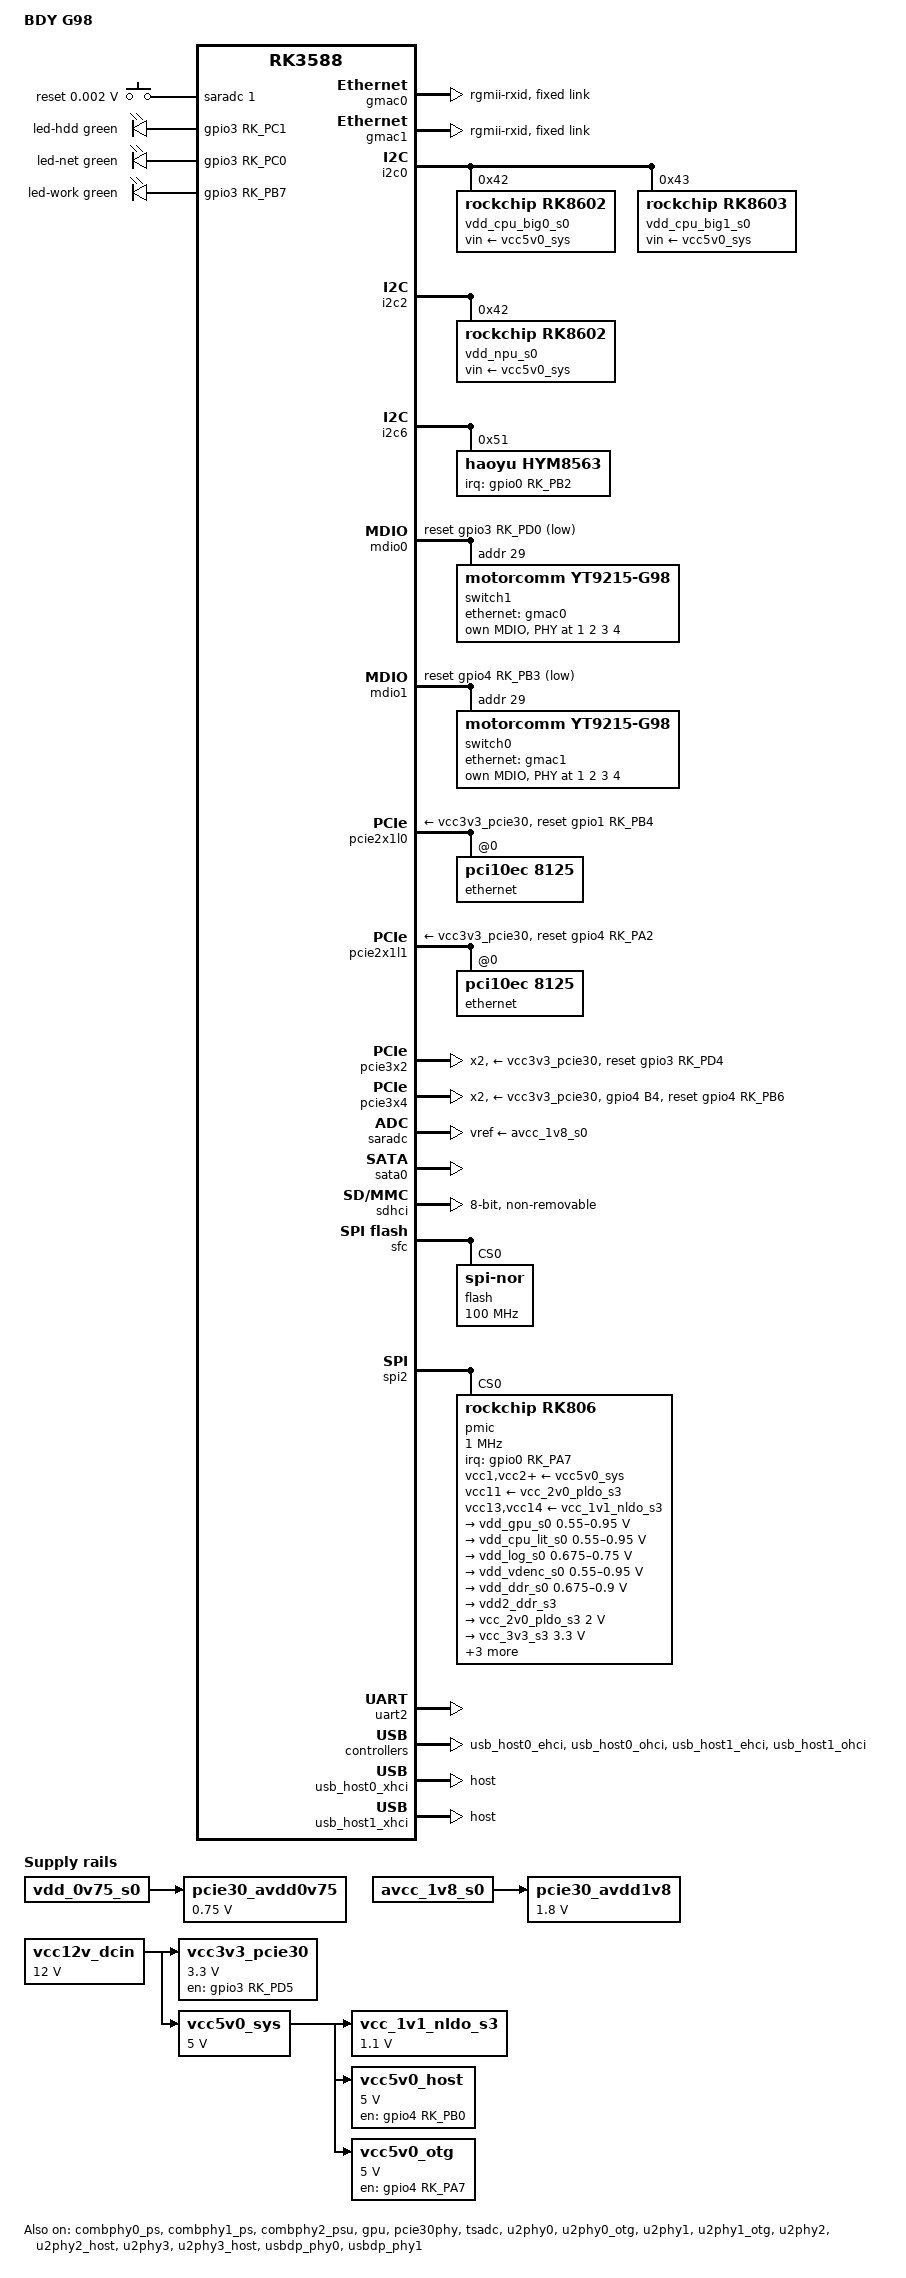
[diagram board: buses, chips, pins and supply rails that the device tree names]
// SPDX-License-Identifier: (GPL-2.0+ OR MIT)

/dts-v1/;

#include <dt-bindings/gpio/gpio.h>
#include <dt-bindings/input/input.h>
#include <dt-bindings/interrupt-controller/irq.h>
#include <dt-bindings/leds/common.h>
#include <dt-bindings/pinctrl/rockchip.h>
#include "rk3588.dtsi"

/ {
	model = "BDY G98";
	compatible = "bdy,g98", "rockchip,rk3588";

	adc-keys {
		compatible = "adc-keys";
		io-channels = <&saradc 1>;
		io-channel-names = "buttons";
		keyup-threshold-microvolt = <1800000>;
		poll-interval = <100>;

		button-reset {
			label = "reset";
			linux,code = <KEY_RESTART>;
			press-threshold-microvolt = <1750>;
		};
	};

	aliases {
		ethernet0 = &gmac0;
		ethernet1 = &gmac1;
		mmc0 = &sdhci;
		usbdp0 = &usbdp_phy0;
	};

	chosen {
		stdout-path = "serial2:1500000n8";
	};

	leds {
		compatible = "gpio-leds";

		led-hdd {
			color = <LED_COLOR_ID_GREEN>;
			default-state = "off";
			function = LED_FUNCTION_DISK;
			gpios = <&gpio3 RK_PC1 GPIO_ACTIVE_HIGH>;
		};

		led-net {
			color = <LED_COLOR_ID_GREEN>;
			default-state = "off";
			function = LED_FUNCTION_LAN;
			gpios = <&gpio3 RK_PC0 GPIO_ACTIVE_HIGH>;
		};

		led-work {
			color = <LED_COLOR_ID_GREEN>;
			function = LED_FUNCTION_HEARTBEAT;
			gpios = <&gpio3 RK_PB7 GPIO_ACTIVE_HIGH>;
			linux,default-trigger = "heartbeat";
		};
	};

	pcie30_avdd0v75: regulator-pcie30-avdd0v75 {
		compatible = "regulator-fixed";
		regulator-name = "pcie30_avdd0v75";
		regulator-always-on;
		regulator-boot-on;
		regulator-min-microvolt = <750000>;
		regulator-max-microvolt = <750000>;
		vin-supply = <&vdd_0v75_s0>;
	};

	pcie30_avdd1v8: regulator-pcie30-avdd1v8 {
		compatible = "regulator-fixed";
		regulator-name = "pcie30_avdd1v8";
		regulator-always-on;
		regulator-boot-on;
		regulator-min-microvolt = <1800000>;
		regulator-max-microvolt = <1800000>;
		vin-supply = <&avcc_1v8_s0>;
	};

	vcc_1v1_nldo_s3: regulator-vcc-1v1-nldo-s3 {
		compatible = "regulator-fixed";
		regulator-name = "vcc_1v1_nldo_s3";
		regulator-always-on;
		regulator-boot-on;
		regulator-min-microvolt = <1100000>;
		regulator-max-microvolt = <1100000>;
		vin-supply = <&vcc5v0_sys>;
	};

	vcc12v_dcin: regulator-vcc12v-dcin {
		compatible = "regulator-fixed";
		regulator-name = "vcc12v_dcin";
		regulator-always-on;
		regulator-boot-on;
		regulator-min-microvolt = <12000000>;
		regulator-max-microvolt = <12000000>;
	};

	vcc3v3_pcie30: regulator-vcc3v3-pcie30 {
		compatible = "regulator-fixed";
		regulator-name = "vcc3v3_pcie30";
		regulator-min-microvolt = <3300000>;
		regulator-max-microvolt = <3300000>;
		enable-active-high;
		gpio = <&gpio3 RK_PD5 GPIO_ACTIVE_HIGH>;
		pinctrl-names = "default";
		pinctrl-0 = <&pcie30_power_en>;
		startup-delay-us = <7500>;
		vin-supply = <&vcc12v_dcin>;
	};

	vcc5v0_host: regulator-vcc5v0-host {
		compatible = "regulator-fixed";
		regulator-name = "vcc5v0_host";
		regulator-always-on;
		regulator-boot-on;
		regulator-min-microvolt = <5000000>;
		regulator-max-microvolt = <5000000>;
		enable-active-high;
		gpio = <&gpio4 RK_PB0 GPIO_ACTIVE_HIGH>;
		pinctrl-names = "default";
		pinctrl-0 = <&vcc5v0_host_en>;
		vin-supply = <&vcc5v0_sys>;
	};

	vcc5v0_otg: regulator-vcc5v0-otg {
		compatible = "regulator-fixed";
		regulator-name = "vcc5v0_otg";
		regulator-min-microvolt = <5000000>;
		regulator-max-microvolt = <5000000>;
		enable-active-high;
		gpio = <&gpio4 RK_PA7 GPIO_ACTIVE_HIGH>;
		pinctrl-names = "default";
		pinctrl-0 = <&vcc5v0_otg_en>;
		vin-supply = <&vcc5v0_sys>;
	};

	vcc5v0_sys: regulator-vcc5v0-sys {
		compatible = "regulator-fixed";
		regulator-name = "vcc5v0_sys";
		regulator-always-on;
		regulator-boot-on;
		regulator-min-microvolt = <5000000>;
		regulator-max-microvolt = <5000000>;
		vin-supply = <&vcc12v_dcin>;
	};
};

&{/reserved-memory} {
	cma: linux,cma {
		compatible = "shared-dma-pool";
		alloc-ranges = <0x1 0x00000000 0x3 0x00000000>;
		reusable;
		size = <0x0 0x20000000>;
		linux,cma-default;
	};
};

&combphy0_ps {
	status = "okay";
};

&combphy1_ps {
	status = "okay";
};

&combphy2_psu {
	status = "okay";
};

&cpu_b0 {
	cpu-supply = <&vdd_cpu_big0_s0>;
};

&cpu_b1 {
	cpu-supply = <&vdd_cpu_big0_s0>;
};

&cpu_b2 {
	cpu-supply = <&vdd_cpu_big1_s0>;
};

&cpu_b3 {
	cpu-supply = <&vdd_cpu_big1_s0>;
};

&cpu_l0 {
	cpu-supply = <&vdd_cpu_lit_s0>;
};

&cpu_l1 {
	cpu-supply = <&vdd_cpu_lit_s0>;
};

&cpu_l2 {
	cpu-supply = <&vdd_cpu_lit_s0>;
};

&cpu_l3 {
	cpu-supply = <&vdd_cpu_lit_s0>;
};

&gmac0 {
	/delete-property/ snps,tso;
	clock_in_out = "output";
	phy-mode = "rgmii-rxid";
	pinctrl-names = "default";
	pinctrl-0 = <&gmac0_miim
		     &gmac0_tx_bus2
		     &gmac0_rx_bus2
		     &gmac0_rgmii_clk
		     &gmac0_rgmii_bus>;
	rx_delay = <0x00>;
	tx_delay = <0x44>;
	status = "okay";

	fixed-link {
		speed = <1000>;
		full-duplex;
		pause;
	};
};

/* The vendor DT uses one DMA queue on each switch CPU port. */
&gmac0_mtl_rx_setup {
	snps,rx-queues-to-use = <1>;
	/delete-node/ queue1;
};

&gmac0_mtl_tx_setup {
	snps,tx-queues-to-use = <1>;
	/delete-node/ queue1;
};

&gmac1 {
	/delete-property/ snps,tso;
	clock_in_out = "output";
	phy-mode = "rgmii-rxid";
	pinctrl-names = "default";
	pinctrl-0 = <&gmac1_miim
		     &gmac1_tx_bus2
		     &gmac1_rx_bus2
		     &gmac1_rgmii_clk
		     &gmac1_rgmii_bus>;
	rx_delay = <0x00>;
	tx_delay = <0x42>;
	status = "okay";

	fixed-link {
		speed = <1000>;
		full-duplex;
		pause;
	};
};

&gmac1_mtl_rx_setup {
	snps,rx-queues-to-use = <1>;
	/delete-node/ queue1;
};

&gmac1_mtl_tx_setup {
	snps,tx-queues-to-use = <1>;
	/delete-node/ queue1;
};

&gpu {
	mali-supply = <&vdd_gpu_s0>;
	sram-supply = <&vdd_gpu_s0>;
	status = "okay";
};

&i2c0 {
	pinctrl-names = "default";
	pinctrl-0 = <&i2c0m2_xfer>;
	status = "okay";

	vdd_cpu_big0_s0: regulator@42 {
		compatible = "rockchip,rk8602";
		reg = <0x42>;
		fcs,suspend-voltage-selector = <1>;
		regulator-name = "vdd_cpu_big0_s0";
		regulator-min-microvolt = <550000>;
		regulator-max-microvolt = <1050000>;
		regulator-ramp-delay = <2300>;
		regulator-boot-on;
		regulator-always-on;
		vin-supply = <&vcc5v0_sys>;

		regulator-state-mem {
			regulator-off-in-suspend;
		};
	};

	vdd_cpu_big1_s0: regulator@43 {
		compatible = "rockchip,rk8603", "rockchip,rk8602";
		reg = <0x43>;
		fcs,suspend-voltage-selector = <1>;
		regulator-name = "vdd_cpu_big1_s0";
		regulator-min-microvolt = <550000>;
		regulator-max-microvolt = <1050000>;
		regulator-ramp-delay = <2300>;
		regulator-boot-on;
		regulator-always-on;
		vin-supply = <&vcc5v0_sys>;

		regulator-state-mem {
			regulator-off-in-suspend;
		};
	};
};

&i2c2 {
	pinctrl-names = "default";
	pinctrl-0 = <&i2c2m0_xfer>;
	status = "okay";

	vdd_npu_s0: regulator@42 {
		compatible = "rockchip,rk8602";
		reg = <0x42>;
		fcs,suspend-voltage-selector = <1>;
		regulator-name = "vdd_npu_s0";
		regulator-min-microvolt = <550000>;
		regulator-max-microvolt = <950000>;
		regulator-ramp-delay = <2300>;
		regulator-boot-on;
		regulator-always-on;
		vin-supply = <&vcc5v0_sys>;

		regulator-state-mem {
			regulator-off-in-suspend;
		};
	};
};

&i2c6 {
	status = "okay";

	hym8563: rtc@51 {
		compatible = "haoyu,hym8563";
		reg = <0x51>;
		interrupt-parent = <&gpio0>;
		interrupts = <RK_PB2 IRQ_TYPE_LEVEL_LOW>;
		#clock-cells = <0>;
		clock-output-names = "hym8563";
		pinctrl-names = "default";
		pinctrl-0 = <&hym8563_int>;
		wakeup-source;
	};
};

/* switch1: managed through and connected to GMAC0. */
&mdio0 {
	reset-delay-us = <20000>;
	reset-gpios = <&gpio3 RK_PD0 GPIO_ACTIVE_LOW>;
	reset-post-delay-us = <100000>;

	switch1: ethernet-switch@1d {
		compatible = "motorcomm,yt9215-g98", "motorcomm,yt9215";
		reg = <0x1d>;
		dsa,member = <1 0>;

		ethernet-ports {
			#address-cells = <1>;
			#size-cells = <0>;

			ethernet-port@1 {
				reg = <1>;
				label = "lan7";
				phy-handle = <&sw1_phy1>;
				phy-mode = "internal";
			};

			ethernet-port@2 {
				reg = <2>;
				label = "lan8";
				phy-handle = <&sw1_phy2>;
				phy-mode = "internal";
			};

			ethernet-port@3 {
				reg = <3>;
				label = "lan9";
				phy-handle = <&sw1_phy3>;
				phy-mode = "internal";
			};

			ethernet-port@4 {
				reg = <4>;
				label = "lan10";
				phy-handle = <&sw1_phy4>;
				phy-mode = "internal";
			};

			ethernet-port@9 {
				reg = <9>;
				ethernet = <&gmac0>;
				phy-mode = "rgmii-txid";

				fixed-link {
					speed = <1000>;
					full-duplex;
					pause;
				};
			};
		};

		mdio {
			#address-cells = <1>;
			#size-cells = <0>;

			sw1_phy1: ethernet-phy@1 {
				reg = <1>;
			};

			sw1_phy2: ethernet-phy@2 {
				reg = <2>;
			};

			sw1_phy3: ethernet-phy@3 {
				reg = <3>;
			};

			sw1_phy4: ethernet-phy@4 {
				reg = <4>;
			};
		};
	};
};

/* switch0: managed through and connected to GMAC1. */
&mdio1 {
	reset-delay-us = <20000>;
	reset-gpios = <&gpio4 RK_PB3 GPIO_ACTIVE_LOW>;
	reset-post-delay-us = <100000>;

	switch0: ethernet-switch@1d {
		compatible = "motorcomm,yt9215-g98", "motorcomm,yt9215";
		reg = <0x1d>;
		dsa,member = <0 0>;

		ethernet-ports {
			#address-cells = <1>;
			#size-cells = <0>;

			ethernet-port@1 {
				reg = <1>;
				label = "lan3";
				phy-handle = <&sw0_phy1>;
				phy-mode = "internal";
			};

			ethernet-port@2 {
				reg = <2>;
				label = "lan4";
				phy-handle = <&sw0_phy2>;
				phy-mode = "internal";
			};

			ethernet-port@3 {
				reg = <3>;
				label = "lan5";
				phy-handle = <&sw0_phy3>;
				phy-mode = "internal";
			};

			ethernet-port@4 {
				reg = <4>;
				label = "lan6";
				phy-handle = <&sw0_phy4>;
				phy-mode = "internal";
			};

			ethernet-port@9 {
				reg = <9>;
				ethernet = <&gmac1>;
				phy-mode = "rgmii-txid";

				fixed-link {
					speed = <1000>;
					full-duplex;
					pause;
				};
			};
		};

		mdio {
			#address-cells = <1>;
			#size-cells = <0>;

			sw0_phy1: ethernet-phy@1 {
				reg = <1>;
			};

			sw0_phy2: ethernet-phy@2 {
				reg = <2>;
			};

			sw0_phy3: ethernet-phy@3 {
				reg = <3>;
			};

			sw0_phy4: ethernet-phy@4 {
				reg = <4>;
			};
		};
	};
};

&pcie2x1l0 {
	reset-gpios = <&gpio1 RK_PB4 GPIO_ACTIVE_HIGH>;
	vpcie3v3-supply = <&vcc3v3_pcie30>;
	status = "okay";

	pcie@0,0 {
		reg = <0x00200000 0 0 0 0>;
		#address-cells = <3>;
		#size-cells = <2>;
		ranges;
		device_type = "pci";
		bus-range = <0x20 0x2f>;

		ethernet@0,0 {
			compatible = "pci10ec,8125";
			reg = <0x00000000 0 0 0 0>;
			r8125,led0 = <0x022b>;
			r8125,led1 = <0x022b>;
			r8125,led2 = <0x022b>;
			r8125,led3 = <0x022b>;
		};
	};
};

&pcie2x1l1 {
	reset-gpios = <&gpio4 RK_PA2 GPIO_ACTIVE_HIGH>;
	vpcie3v3-supply = <&vcc3v3_pcie30>;
	status = "okay";

	pcie@0,0 {
		reg = <0x00300000 0 0 0 0>;
		#address-cells = <3>;
		#size-cells = <2>;
		ranges;
		device_type = "pci";
		bus-range = <0x30 0x3f>;

		ethernet@0,0 {
			compatible = "pci10ec,8125";
			reg = <0x00000000 0 0 0 0>;
			r8125,led0 = <0x022b>;
			r8125,led1 = <0x022b>;
			r8125,led2 = <0x022b>;
			r8125,led3 = <0x022b>;
		};
	};
};

&pcie30phy {
	/* Split the four lanes between the two PCIe 3.0 x2 controllers. */
	data-lanes = <1 1 2 2>;
	status = "okay";
};

&pcie3x2 {
	num-lanes = <2>;
	reset-gpios = <&gpio3 RK_PD4 GPIO_ACTIVE_HIGH>;
	vpcie3v3-supply = <&vcc3v3_pcie30>;
	status = "okay";
};

&pcie3x4 {
	num-lanes = <2>;
	pinctrl-names = "default";
	pinctrl-0 = <&pcie30_clkreqn>;
	reset-gpios = <&gpio4 RK_PB6 GPIO_ACTIVE_HIGH>;
	vpcie3v3-supply = <&vcc3v3_pcie30>;
	status = "okay";
};

&pinctrl {
	pcie {
		pcie30_clkreqn: pcie30-clkreqn {
			rockchip,pins = <4 RK_PB4 RK_FUNC_GPIO &pcfg_pull_down>;
		};

		pcie30_power_en: pcie30-power-en {
			rockchip,pins = <3 RK_PD5 RK_FUNC_GPIO &pcfg_pull_down>;
		};
	};

	pmic {
		pmic_pins: pmic-pins {
			rockchip,pins = <0 RK_PA7 RK_FUNC_GPIO &pcfg_pull_up>;
		};
	};

	rtc {
		hym8563_int: hym8563-int {
			rockchip,pins = <0 RK_PB2 RK_FUNC_GPIO &pcfg_pull_up>;
		};
	};

	usb {
		vcc5v0_host_en: vcc5v0-host-en {
			rockchip,pins = <4 RK_PB0 RK_FUNC_GPIO &pcfg_pull_none>;
		};

		vcc5v0_otg_en: vcc5v0-otg-en {
			rockchip,pins = <4 RK_PA7 RK_FUNC_GPIO &pcfg_pull_none>;
		};
	};
};

&saradc {
	vref-supply = <&avcc_1v8_s0>;
	status = "okay";
};

&sata0 {
	status = "okay";
};

&sdhci {
	/delete-property/ pinctrl-names;
	/delete-property/ pinctrl-0;
	bus-width = <8>;
	no-sdio;
	no-sd;
	non-removable;
	mmc-hs400-1_8v;
	mmc-hs400-enhanced-strobe;
	status = "okay";
};

&sfc {
	assigned-clocks = <&cru SCLK_SFC>;
	assigned-clock-rates = <100000000>;
	/* BootROM/SPL selects the active SFC route; Linux must not override it. */
	status = "okay";

	flash@0 {
		compatible = "jedec,spi-nor";
		reg = <0>;
		spi-max-frequency = <100000000>;
		spi-rx-bus-width = <4>;
		spi-tx-bus-width = <1>;
		broken-flash-reset;
	};
};

&spi2 {
	assigned-clocks = <&cru CLK_SPI2>;
	assigned-clock-rates = <200000000>;
	num-cs = <1>;
	pinctrl-names = "default";
	pinctrl-0 = <&spi2m2_cs0 &spi2m2_pins>;
	status = "okay";

	pmic@0 {
		compatible = "rockchip,rk806";
		reg = <0>;
		interrupt-parent = <&gpio0>;
		interrupts = <RK_PA7 IRQ_TYPE_LEVEL_LOW>;
		pinctrl-names = "default";
		pinctrl-0 = <&pmic_pins>, <&rk806_dvs1_null>,
			    <&rk806_dvs2_null>, <&rk806_dvs3_null>;
		spi-max-frequency = <1000000>;
		system-power-controller;

		vcc1-supply = <&vcc5v0_sys>;
		vcc2-supply = <&vcc5v0_sys>;
		vcc3-supply = <&vcc5v0_sys>;
		vcc4-supply = <&vcc5v0_sys>;
		vcc5-supply = <&vcc5v0_sys>;
		vcc6-supply = <&vcc5v0_sys>;
		vcc7-supply = <&vcc5v0_sys>;
		vcc8-supply = <&vcc5v0_sys>;
		vcc9-supply = <&vcc5v0_sys>;
		vcc10-supply = <&vcc5v0_sys>;
		vcc11-supply = <&vcc_2v0_pldo_s3>;
		vcc12-supply = <&vcc5v0_sys>;
		vcc13-supply = <&vcc_1v1_nldo_s3>;
		vcc14-supply = <&vcc_1v1_nldo_s3>;
		vcca-supply = <&vcc5v0_sys>;

		gpio-controller;
		#gpio-cells = <2>;

		rk806_dvs1_null: dvs1-null-pins {
			pins = "gpio_pwrctrl1";
			function = "pin_fun0";
		};

		rk806_dvs2_null: dvs2-null-pins {
			pins = "gpio_pwrctrl2";
			function = "pin_fun0";
		};

		rk806_dvs3_null: dvs3-null-pins {
			pins = "gpio_pwrctrl3";
			function = "pin_fun0";
		};

		regulators {
			vdd_gpu_s0: dcdc-reg1 {
				regulator-boot-on;
				regulator-min-microvolt = <550000>;
				regulator-max-microvolt = <950000>;
				regulator-ramp-delay = <12500>;
				regulator-name = "vdd_gpu_s0";
				regulator-enable-ramp-delay = <400>;

				regulator-state-mem {
					regulator-off-in-suspend;
				};
			};

			vdd_cpu_lit_s0: dcdc-reg2 {
				regulator-always-on;
				regulator-boot-on;
				regulator-min-microvolt = <550000>;
				regulator-max-microvolt = <950000>;
				regulator-ramp-delay = <12500>;
				regulator-name = "vdd_cpu_lit_s0";

				regulator-state-mem {
					regulator-off-in-suspend;
				};
			};

			vdd_log_s0: dcdc-reg3 {
				regulator-always-on;
				regulator-boot-on;
				regulator-min-microvolt = <675000>;
				regulator-max-microvolt = <750000>;
				regulator-ramp-delay = <12500>;
				regulator-name = "vdd_log_s0";

				regulator-state-mem {
					regulator-off-in-suspend;
					regulator-suspend-microvolt = <750000>;
				};
			};

			vdd_vdenc_s0: dcdc-reg4 {
				regulator-always-on;
				regulator-boot-on;
				regulator-min-microvolt = <550000>;
				regulator-max-microvolt = <950000>;
				regulator-ramp-delay = <12500>;
				regulator-name = "vdd_vdenc_s0";

				regulator-state-mem {
					regulator-off-in-suspend;
				};
			};

			vdd_ddr_s0: dcdc-reg5 {
				regulator-always-on;
				regulator-boot-on;
				regulator-min-microvolt = <675000>;
				regulator-max-microvolt = <900000>;
				regulator-ramp-delay = <12500>;
				regulator-name = "vdd_ddr_s0";

				regulator-state-mem {
					regulator-off-in-suspend;
					regulator-suspend-microvolt = <850000>;
				};
			};

			vdd2_ddr_s3: dcdc-reg6 {
				regulator-always-on;
				regulator-boot-on;
				regulator-name = "vdd2_ddr_s3";

				regulator-state-mem {
					regulator-on-in-suspend;
				};
			};

			vcc_2v0_pldo_s3: dcdc-reg7 {
				regulator-always-on;
				regulator-boot-on;
				regulator-min-microvolt = <2000000>;
				regulator-max-microvolt = <2000000>;
				regulator-ramp-delay = <12500>;
				regulator-name = "vdd_2v0_pldo_s3";

				regulator-state-mem {
					regulator-on-in-suspend;
					regulator-suspend-microvolt = <2000000>;
				};
			};

			vcc_3v3_s3: dcdc-reg8 {
				regulator-always-on;
				regulator-boot-on;
				regulator-min-microvolt = <3300000>;
				regulator-max-microvolt = <3300000>;
				regulator-name = "vcc_3v3_s3";

				regulator-state-mem {
					regulator-on-in-suspend;
					regulator-suspend-microvolt = <3300000>;
				};
			};

			vddq_ddr_s0: dcdc-reg9 {
				regulator-always-on;
				regulator-boot-on;
				regulator-name = "vddq_ddr_s0";

				regulator-state-mem {
					regulator-off-in-suspend;
				};
			};

			vcc_1v8_s3: dcdc-reg10 {
				regulator-always-on;
				regulator-boot-on;
				regulator-min-microvolt = <1800000>;
				regulator-max-microvolt = <1800000>;
				regulator-name = "vcc_1v8_s3";

				regulator-state-mem {
					regulator-on-in-suspend;
					regulator-suspend-microvolt = <1800000>;
				};
			};

			avcc_1v8_s0: pldo-reg1 {
				regulator-always-on;
				regulator-boot-on;
				regulator-min-microvolt = <1800000>;
				regulator-max-microvolt = <1800000>;
				regulator-name = "avcc_1v8_s0";

				regulator-state-mem {
					regulator-off-in-suspend;
				};
			};

			vcc_1v8_s0: pldo-reg2 {
				regulator-always-on;
				regulator-boot-on;
				regulator-min-microvolt = <1800000>;
				regulator-max-microvolt = <1800000>;
				regulator-name = "vcc_1v8_s0";

				regulator-state-mem {
					regulator-off-in-suspend;
					regulator-suspend-microvolt = <1800000>;
				};
			};

			avdd_1v2_s0: pldo-reg3 {
				regulator-always-on;
				regulator-boot-on;
				regulator-min-microvolt = <1200000>;
				regulator-max-microvolt = <1200000>;
				regulator-name = "avdd_1v2_s0";

				regulator-state-mem {
					regulator-off-in-suspend;
				};
			};

			vcc_3v3_s0: pldo-reg4 {
				regulator-always-on;
				regulator-boot-on;
				regulator-min-microvolt = <3300000>;
				regulator-max-microvolt = <3300000>;
				regulator-ramp-delay = <12500>;
				regulator-name = "vcc_3v3_s0";

				regulator-state-mem {
					regulator-off-in-suspend;
				};
			};

			vccio_sd_s0: pldo-reg5 {
				regulator-always-on;
				regulator-boot-on;
				regulator-min-microvolt = <1800000>;
				regulator-max-microvolt = <3300000>;
				regulator-ramp-delay = <12500>;
				regulator-name = "vccio_sd_s0";

				regulator-state-mem {
					regulator-off-in-suspend;
				};
			};

			pldo6_s3: pldo-reg6 {
				regulator-always-on;
				regulator-boot-on;
				regulator-min-microvolt = <1800000>;
				regulator-max-microvolt = <1800000>;
				regulator-name = "pldo6_s3";

				regulator-state-mem {
					regulator-on-in-suspend;
					regulator-suspend-microvolt = <1800000>;
				};
			};

			vdd_0v75_s3: nldo-reg1 {
				regulator-always-on;
				regulator-boot-on;
				regulator-min-microvolt = <750000>;
				regulator-max-microvolt = <750000>;
				regulator-name = "vdd_0v75_s3";

				regulator-state-mem {
					regulator-on-in-suspend;
					regulator-suspend-microvolt = <750000>;
				};
			};

			vdd_ddr_pll_s0: nldo-reg2 {
				regulator-always-on;
				regulator-boot-on;
				regulator-min-microvolt = <850000>;
				regulator-max-microvolt = <850000>;
				regulator-name = "vdd_ddr_pll_s0";

				regulator-state-mem {
					regulator-off-in-suspend;
					regulator-suspend-microvolt = <850000>;
				};
			};

			avdd_0v75_s0: nldo-reg3 {
				regulator-always-on;
				regulator-boot-on;
				regulator-min-microvolt = <750000>;
				regulator-max-microvolt = <750000>;
				regulator-name = "avdd_0v75_s0";

				regulator-state-mem {
					regulator-off-in-suspend;
				};
			};

			vdd_0v85_s0: nldo-reg4 {
				regulator-always-on;
				regulator-boot-on;
				regulator-min-microvolt = <850000>;
				regulator-max-microvolt = <850000>;
				regulator-name = "vdd_0v85_s0";

				regulator-state-mem {
					regulator-off-in-suspend;
				};
			};

			vdd_0v75_s0: nldo-reg5 {
				regulator-always-on;
				regulator-boot-on;
				regulator-min-microvolt = <750000>;
				regulator-max-microvolt = <750000>;
				regulator-name = "vdd_0v75_s0";

				regulator-state-mem {
					regulator-off-in-suspend;
				};
			};
		};
	};
};

&tsadc {
	status = "okay";
};

&u2phy0 {
	status = "okay";
};

&u2phy0_otg {
	phy-supply = <&vcc5v0_otg>;
	status = "okay";
};

&u2phy1 {
	status = "okay";
};

&u2phy1_otg {
	phy-supply = <&vcc5v0_host>;
	status = "okay";
};

&u2phy2 {
	status = "okay";
};

&u2phy2_host {
	phy-supply = <&vcc5v0_host>;
	status = "okay";
};

&u2phy3 {
	status = "okay";
};

&u2phy3_host {
	phy-supply = <&vcc5v0_host>;
	status = "okay";
};

&uart2 {
	pinctrl-0 = <&uart2m0_xfer>;
	status = "okay";
};

&usbdp_phy0 {
	rockchip,dp-lane-mux = <2 3>;
	status = "okay";
};

&usbdp_phy1 {
	rockchip,dp-lane-mux = <2 3>;
	status = "okay";
};

&usb_host0_ehci {
	status = "okay";
};

&usb_host0_ohci {
	status = "okay";
};

&usb_host0_xhci {
	dr_mode = "host";
	maximum-speed = "super-speed";
	status = "okay";
};

&usb_host1_ehci {
	status = "okay";
};

&usb_host1_ohci {
	status = "okay";
};

&usb_host1_xhci {
	dr_mode = "host";
	maximum-speed = "super-speed";
	status = "okay";
};
